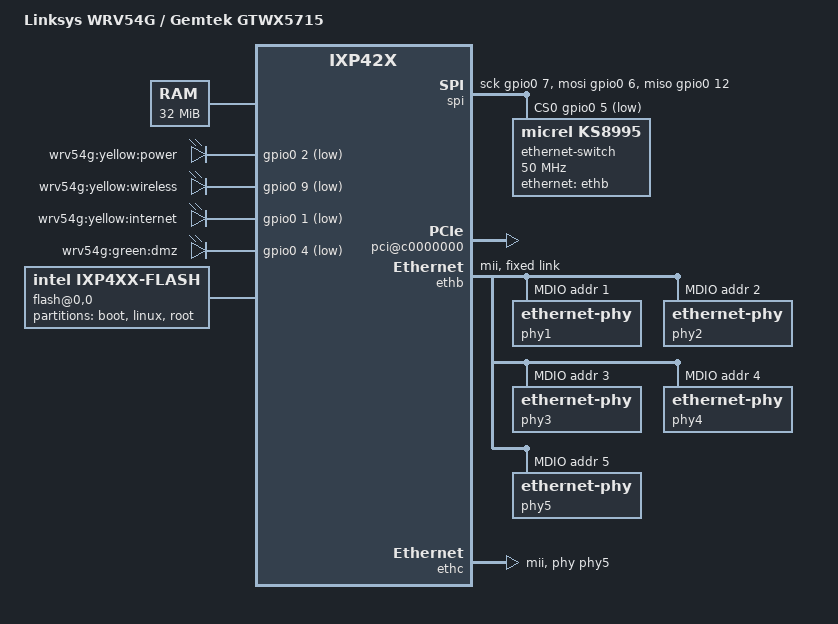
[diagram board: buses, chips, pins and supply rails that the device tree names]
// SPDX-License-Identifier: ISC
/*
 * Device Tree file for the Linksys WRV54G router
 * Also known as Gemtek GTWX5715
 * Based on a board file by George T. Joseph and other patches.
 * This machine is based on IXP425.
 */

/dts-v1/;

#include "intel-ixp42x.dtsi"
#include <dt-bindings/input/input.h>

/ {
	model = "Linksys WRV54G / Gemtek GTWX5715";
	compatible = "linksys,wrv54g", "intel,ixp42x";
	#address-cells = <1>;
	#size-cells = <1>;

	memory@0 {
		/* 32 MB memory */
		device_type = "memory";
		reg = <0x00000000 0x2000000>;
	};

	chosen {
		bootargs = "console=ttyS0,115200n8";
		stdout-path = "uart1:115200n8";
	};

	aliases {
		/* UART2 is the primary console */
		serial0 = &uart1;
		serial1 = &uart0;
	};

	/* There is an unpopulated LED slot (3) connected to GPIO 8 */
	leds {
		compatible = "gpio-leds";
		led-power {
			label = "wrv54g:yellow:power";
			gpios = <&gpio0 2 GPIO_ACTIVE_LOW>;
			default-state = "on";
			linux,default-trigger = "heartbeat";
		};
		led-wireless {
			label = "wrv54g:yellow:wireless";
			gpios = <&gpio0 9 GPIO_ACTIVE_LOW>;
			default-state = "on";
		};
		led-internet {
			label = "wrv54g:yellow:internet";
			gpios = <&gpio0 1 GPIO_ACTIVE_LOW>;
			default-state = "on";
		};
		led-dmz {
			label = "wrv54g:green:dmz";
			gpios = <&gpio0 4 GPIO_ACTIVE_LOW>;
			default-state = "on";
		};
	};

	/* This set-up comes from an OpenWrt patch */
	spi {
		compatible = "spi-gpio";
		#address-cells = <1>;
		#size-cells = <0>;

		sck-gpios = <&gpio0 7 GPIO_ACTIVE_HIGH>;
		miso-gpios = <&gpio0 12 GPIO_ACTIVE_HIGH>;
		mosi-gpios = <&gpio0 6 GPIO_ACTIVE_HIGH>;
		cs-gpios = <&gpio0 5 GPIO_ACTIVE_LOW>;
		num-chipselects = <1>;

		ethernet-switch@0 {
			compatible = "micrel,ks8995";
			reg = <0>;
			spi-max-frequency = <50000000>;

			/*
			 * The PHYs are accessed over the external MDIO
			 * bus and not internally through the switch control
			 * registers.
			 */
			ethernet-ports {
				#address-cells = <1>;
				#size-cells = <0>;

				ethernet-port@0 {
					reg = <0>;
					label = "1";
					phy-mode = "mii";
					phy-handle = <&phy1>;
				};
				ethernet-port@1 {
					reg = <1>;
					label = "2";
					phy-mode = "mii";
					phy-handle = <&phy2>;
				};
				ethernet-port@2 {
					reg = <2>;
					label = "3";
					phy-mode = "mii";
					phy-handle = <&phy3>;
				};
				ethernet-port@3 {
					reg = <3>;
					label = "4";
					phy-mode = "mii";
					phy-handle = <&phy4>;
				};
				ethernet-port@4 {
					reg = <4>;
					ethernet = <&ethb>;
					phy-mode = "mii";
					fixed-link {
						speed = <100>;
						full-duplex;
					};
				};

			};
		};
	};

	soc {
		bus@c4000000 {
			flash@0,0 {
				compatible = "intel,ixp4xx-flash", "cfi-flash";
				bank-width = <2>;
				/* Enable writes on the expansion bus */
				intel,ixp4xx-eb-write-enable = <1>;
				/* 8 MB of Flash mapped in at CS0 */
				reg = <0 0x00000000 0x00800000>;

				partitions {
					compatible = "fixed-partitions";
					/*
					 * Partition info from a boot log
					 * CHECKME: not using redboot? FIS index 0x3f @7e00000?
					 */
					#address-cells = <1>;
					#size-cells = <1>;
					partition@0 {
						label = "boot";
						reg = <0x0 0x140000>;
						read-only;
					};
					partition@140000 {
						label = "linux";
						reg = <0x140000 0x100000>;
						read-only;
					};
					partition@240000 {
						label = "root";
						reg = <0x240000 0x480000>;
						read-write;
					};
				};
			};
		};

		pci@c0000000 {
			status = "okay";

			/*
			 * We have up to 2 slots (IDSEL) with 2 swizzled IRQs.
			 * Derived from the GTWX5715 PCI boardfile.
			 */
			#interrupt-cells = <1>;
			interrupt-map-mask = <0xf800 0 0 7>;
			interrupt-map =
			/* IDSEL 0 */
			<0x0000 0 0 1 &gpio0 10 IRQ_TYPE_LEVEL_LOW>, /* INT A on slot 0 is irq 10 */
			<0x0000 0 0 2 &gpio0 11 IRQ_TYPE_LEVEL_LOW>, /* INT B on slot 0 is irq 11 */
			/* IDSEL 1 */
			<0x0800 0 0 1 &gpio0 11 IRQ_TYPE_LEVEL_LOW>, /* INT A on slot 1 is irq 11 */
			<0x0800 0 0 2 &gpio0 10 IRQ_TYPE_LEVEL_LOW>; /* INT B on slot 1 is irq 10 */
		};

		/*
		 * EthB connects to the KS8995 CPU port and faces ports 1-4
		 * through the switch fabric.
		 *
		 * To complicate things, the MDIO channel is also only
		 * accessible through EthB, but used independently for PHY
		 * control.
		 */
		ethb: ethernet@c8009000 {
			status = "okay";
			queue-rx = <&qmgr 3>;
			queue-txready = <&qmgr 20>;
			phy-mode = "mii";
			fixed-link {
				speed = <100>;
				full-duplex;
			};

			mdio {
				#address-cells = <1>;
				#size-cells = <0>;

				/*
				 * LAN ports 1-4 on the KS8995 switch
				 * and PHY5 for WAN need to be accessed
				 * through this external MDIO channel.
				 */
				phy1: ethernet-phy@1 {
					reg = <1>;
				};
				phy2: ethernet-phy@2 {
					reg = <2>;
				};
				phy3: ethernet-phy@3 {
					reg = <3>;
				};
				phy4: ethernet-phy@4 {
					reg = <4>;
				};
				phy5: ethernet-phy@5 {
					reg = <5>;
				};
			};
		};

		/*
		 * EthC connects to MII-P5 on the KS8995 bypassing
		 * all of the switch logic and facing PHY5
		 */
		ethc: ethernet@c800a000 {
			status = "okay";
			queue-rx = <&qmgr 4>;
			queue-txready = <&qmgr 21>;
			phy-mode = "mii";
			phy-handle = <&phy5>;
		};
	};
};
